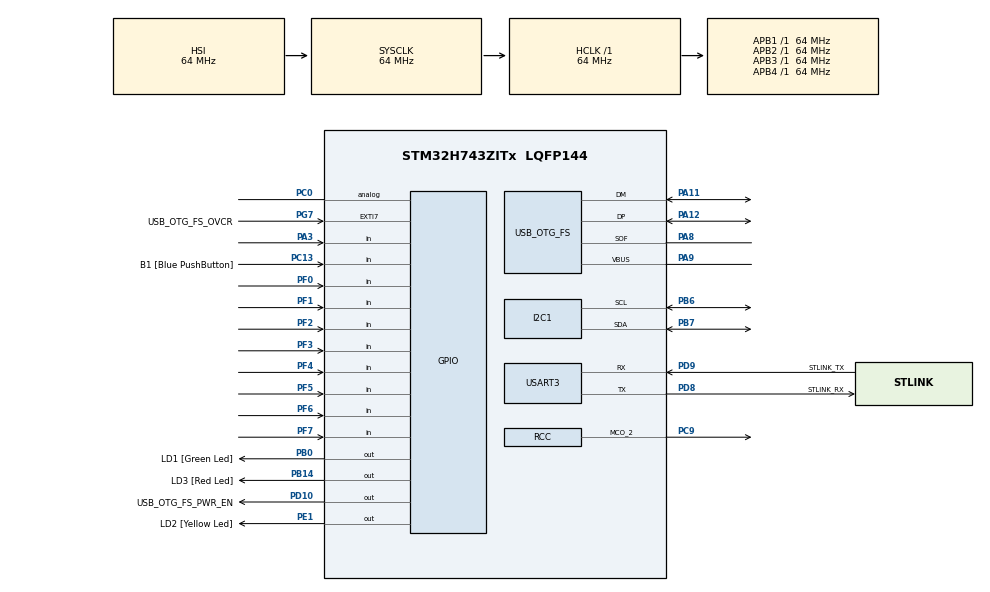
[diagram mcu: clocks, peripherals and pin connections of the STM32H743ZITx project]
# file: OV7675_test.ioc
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Mcu.Family=STM32H7
Mcu.Name=STM32H743ZITx
Mcu.Package=LQFP144
NVIC.PriorityGroup=NVIC_PRIORITYGROUP_4
PA11.Mode=Device_Only
PA11.Signal=USB_OTG_FS_DM
PA12.Mode=Device_Only
PA12.Signal=USB_OTG_FS_DP
PA3.Signal=GPIO_Input
PA8.Mode=Activate_SOF_FS
PA8.Signal=USB_OTG_FS_SOF
PA9.Mode=Activate_VBUS
PA9.Signal=USB_OTG_FS_VBUS
PB0.GPIO_Label=LD1 [Green Led]
PB0.Signal=GPIO_Output
PB14.GPIO_Label=LD3 [Red Led]
PB14.Signal=GPIO_Output
PB6.Mode=I2C
PB6.Signal=I2C1_SCL
PB7.Mode=I2C
PB7.Signal=I2C1_SDA
PC0.Signal=GPIO_Analog
PC13.GPIO_Label=B1 [Blue PushButton]
PC13.Signal=GPIO_Input
PC14-OSC32_IN\ (OSC32_IN).Mode=LSE-External-Oscillator
PC14-OSC32_IN\ (OSC32_IN).Signal=RCC_OSC32_IN
PC15-OSC32_OUT\ (OSC32_OUT).Mode=LSE-External-Oscillator
PC15-OSC32_OUT\ (OSC32_OUT).Signal=RCC_OSC32_OUT
PC9.Mode=Clock-out-2
PC9.Signal=RCC_MCO_2
PD10.GPIO_Label=USB_OTG_FS_PWR_EN
PD10.Signal=GPIO_Output
PD8.GPIO_Label=STLINK_RX
PD8.Mode=Asynchronous
PD8.Signal=USART3_TX
PD9.GPIO_Label=STLINK_TX
PD9.Mode=Asynchronous
PD9.Signal=USART3_RX
PE1.GPIO_Label=LD2 [Yellow Led]
PE1.Signal=GPIO_Output
PF0.Signal=GPIO_Input
PF1.Signal=GPIO_Input
PF2.Signal=GPIO_Input
PF3.Signal=GPIO_Input
PF4.Signal=GPIO_Input
PF5.Signal=GPIO_Input
PF6.Signal=GPIO_Input
PF7.Signal=GPIO_Input
PG7.GPIO_Label=USB_OTG_FS_OVCR
PG7.Signal=GPXTI7
PH0-OSC_IN\ (PH0).Mode=HSE-External-Oscillator
PH0-OSC_IN\ (PH0).Signal=RCC_OSC_IN
PH1-OSC_OUT\ (PH1).Mode=HSE-External-Oscillator
PH1-OSC_OUT\ (PH1).Signal=RCC_OSC_OUT
ProjectManager.HeapSize=0x200
ProjectManager.StackSize=0x400
ProjectManager.TargetToolchain=STM32CubeIDE
RCC.ADCFreq_Value=16125000
RCC.APB1Freq_Value=64000000
RCC.APB2Freq_Value=64000000
RCC.APB3Freq_Value=64000000
RCC.APB4Freq_Value=64000000
RCC.CortexFreq_Value=64000000
RCC.DIVM1=1
RCC.DIVN1=24
RCC.DIVQ1=4
RCC.HCLKFreq_Value=64000000
RCC.HSE_VALUE=8000000
RCC.PLL3_VCO_SEL-AdvancedSettings=RCC_PLL3VCOWIDE
RCC.PLLFRACN=0
RCC.PWR_Regulator_Voltage_Scale=PWR_REGULATOR_VOLTAGE_SCALE2
RCC.RCC_MCODiv2=RCC_MCODIV_4
RCC.SYSCLKFreq_VALUE=64000000
RCC.USBFreq_Value=48000000
USART3.VirtualMode-Asynchronous=VM_ASYNC
USB_OTG_FS.VirtualMode=Device_Only
board=NUCLEO-H743ZI2

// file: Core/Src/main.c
/* USER CODE BEGIN Header */
/**
  ******************************************************************************
  * @file           : main.c
  * @brief          : Main program body
  ******************************************************************************
  * @attention
  *
  * <h2><center>&copy; Copyright (c) 2022 STMicroelectronics.
  * All rights reserved.</center></h2>
  *
  * This software component is licensed by ST under BSD 3-Clause license,
  * the "License"; You may not use this file except in compliance with the
  * License. You may obtain a copy of the License at:
  *                        opensource.org/licenses/BSD-3-Clause
  *
  ******************************************************************************
  */
/* USER CODE END Header */
#include "main.h"

/* USER CODE BEGIN Includes */
#include "stdio.h"
/* USER CODE END Includes */

I2C_HandleTypeDef hi2c1;

UART_HandleTypeDef huart3;

PCD_HandleTypeDef hpcd_USB_OTG_FS;

void SystemClock_Config(void);
static void MX_GPIO_Init(void);
static void MX_USART3_UART_Init(void);
static void MX_USB_OTG_FS_PCD_Init(void);
static void MX_I2C1_Init(void);
/* USER CODE BEGIN PFP */
#ifdef __GNUC__
/* With GCC, small printf (option LD Linker->Libraries->Small printf
   set to 'Yes') calls __io_putchar() */
#define PUTCHAR_PROTOTYPE int __io_putchar(int ch)
#define GETCHAR_PROTOTYPE int __io_getchar()
#else
#define PUTCHAR_PROTOTYPE int fputc(int ch, FILE *f)
#endif /* __GNUC__ */
/* USER CODE END PFP */

int main(void)
{

  /* MCU Configuration--------------------------------------------------------*/

  /* Reset of all peripherals, Initializes the Flash interface and the Systick. */
  HAL_Init();

  /* Configure the system clock */
  SystemClock_Config();

  /* Initialize all configured peripherals */
  MX_GPIO_Init();
  MX_USART3_UART_Init();
  MX_USB_OTG_FS_PCD_Init();
  MX_I2C1_Init();
  /* USER CODE BEGIN 2 */
  my_main();
  /* USER CODE END 2 */

  /* Infinite loop */
  while (1)
  {

  }
}

void SystemClock_Config(void)
{
  RCC_OscInitTypeDef RCC_OscInitStruct = {0};
  RCC_ClkInitTypeDef RCC_ClkInitStruct = {0};

  /** Supply configuration update enable
  */
  HAL_PWREx_ConfigSupply(PWR_LDO_SUPPLY);

  /** Configure the main internal regulator output voltage
  */
  __HAL_PWR_VOLTAGESCALING_CONFIG(PWR_REGULATOR_VOLTAGE_SCALE2);

  while(!__HAL_PWR_GET_FLAG(PWR_FLAG_VOSRDY)) {}

  /** Initializes the RCC Oscillators according to the specified parameters
  * in the RCC_OscInitTypeDef structure.
  */
  RCC_OscInitStruct.OscillatorType = RCC_OSCILLATORTYPE_HSI|RCC_OSCILLATORTYPE_HSE;
  RCC_OscInitStruct.HSEState = RCC_HSE_ON;
  RCC_OscInitStruct.HSIState = RCC_HSI_DIV1;
  RCC_OscInitStruct.HSICalibrationValue = RCC_HSICALIBRATION_DEFAULT;
  RCC_OscInitStruct.PLL.PLLState = RCC_PLL_ON;
  RCC_OscInitStruct.PLL.PLLSource = RCC_PLLSOURCE_HSE;
  RCC_OscInitStruct.PLL.PLLM = 1;
  RCC_OscInitStruct.PLL.PLLN = 24;
  RCC_OscInitStruct.PLL.PLLP = 2;
  RCC_OscInitStruct.PLL.PLLQ = 4;
  RCC_OscInitStruct.PLL.PLLR = 2;
  RCC_OscInitStruct.PLL.PLLRGE = RCC_PLL1VCIRANGE_3;
  RCC_OscInitStruct.PLL.PLLVCOSEL = RCC_PLL1VCOWIDE;
  RCC_OscInitStruct.PLL.PLLFRACN = 0;
  if (HAL_RCC_OscConfig(&RCC_OscInitStruct) != HAL_OK)
  {
    Error_Handler();
  }

  /** Initializes the CPU, AHB and APB buses clocks
  */
  RCC_ClkInitStruct.ClockType = RCC_CLOCKTYPE_HCLK|RCC_CLOCKTYPE_SYSCLK
                              |RCC_CLOCKTYPE_PCLK1|RCC_CLOCKTYPE_PCLK2
                              |RCC_CLOCKTYPE_D3PCLK1|RCC_CLOCKTYPE_D1PCLK1;
  RCC_ClkInitStruct.SYSCLKSource = RCC_SYSCLKSOURCE_HSI;
  RCC_ClkInitStruct.SYSCLKDivider = RCC_SYSCLK_DIV1;
  RCC_ClkInitStruct.AHBCLKDivider = RCC_HCLK_DIV1;
  RCC_ClkInitStruct.APB3CLKDivider = RCC_APB3_DIV1;
  RCC_ClkInitStruct.APB1CLKDivider = RCC_APB1_DIV1;
  RCC_ClkInitStruct.APB2CLKDivider = RCC_APB2_DIV1;
  RCC_ClkInitStruct.APB4CLKDivider = RCC_APB4_DIV1;

  if (HAL_RCC_ClockConfig(&RCC_ClkInitStruct, FLASH_LATENCY_1) != HAL_OK)
  {
    Error_Handler();
  }
  HAL_RCC_MCOConfig(RCC_MCO2, RCC_MCO2SOURCE_SYSCLK, RCC_MCODIV_4);
}

static void MX_I2C1_Init(void)
{

  hi2c1.Instance = I2C1;
  hi2c1.Init.Timing = 0x10707DBC;
  hi2c1.Init.OwnAddress1 = 0;
  hi2c1.Init.AddressingMode = I2C_ADDRESSINGMODE_7BIT;
  hi2c1.Init.DualAddressMode = I2C_DUALADDRESS_DISABLE;
  hi2c1.Init.OwnAddress2 = 0;
  hi2c1.Init.OwnAddress2Masks = I2C_OA2_NOMASK;
  hi2c1.Init.GeneralCallMode = I2C_GENERALCALL_DISABLE;
  hi2c1.Init.NoStretchMode = I2C_NOSTRETCH_DISABLE;
  if (HAL_I2C_Init(&hi2c1) != HAL_OK)
  {
    Error_Handler();
  }

  /** Configure Analogue filter
  */
  if (HAL_I2CEx_ConfigAnalogFilter(&hi2c1, I2C_ANALOGFILTER_ENABLE) != HAL_OK)
  {
    Error_Handler();
  }

  /** Configure Digital filter
  */
  if (HAL_I2CEx_ConfigDigitalFilter(&hi2c1, 0) != HAL_OK)
  {
    Error_Handler();
  }

}

static void MX_USART3_UART_Init(void)
{

  huart3.Instance = USART3;
  huart3.Init.BaudRate = 115200;
  huart3.Init.WordLength = UART_WORDLENGTH_8B;
  huart3.Init.StopBits = UART_STOPBITS_1;
  huart3.Init.Parity = UART_PARITY_NONE;
  huart3.Init.Mode = UART_MODE_TX_RX;
  huart3.Init.HwFlowCtl = UART_HWCONTROL_NONE;
  huart3.Init.OverSampling = UART_OVERSAMPLING_16;
  huart3.Init.OneBitSampling = UART_ONE_BIT_SAMPLE_DISABLE;
  huart3.Init.ClockPrescaler = UART_PRESCALER_DIV1;
  huart3.AdvancedInit.AdvFeatureInit = UART_ADVFEATURE_NO_INIT;
  if (HAL_UART_Init(&huart3) != HAL_OK)
  {
    Error_Handler();
  }
  if (HAL_UARTEx_SetTxFifoThreshold(&huart3, UART_TXFIFO_THRESHOLD_1_8) != HAL_OK)
  {
    Error_Handler();
  }
  if (HAL_UARTEx_SetRxFifoThreshold(&huart3, UART_RXFIFO_THRESHOLD_1_8) != HAL_OK)
  {
    Error_Handler();
  }
  if (HAL_UARTEx_DisableFifoMode(&huart3) != HAL_OK)
  {
    Error_Handler();
  }

}

static void MX_USB_OTG_FS_PCD_Init(void)
{

  hpcd_USB_OTG_FS.Instance = USB_OTG_FS;
  hpcd_USB_OTG_FS.Init.dev_endpoints = 9;
  hpcd_USB_OTG_FS.Init.speed = PCD_SPEED_FULL;
  hpcd_USB_OTG_FS.Init.dma_enable = DISABLE;
  hpcd_USB_OTG_FS.Init.phy_itface = PCD_PHY_EMBEDDED;
  hpcd_USB_OTG_FS.Init.Sof_enable = ENABLE;
  hpcd_USB_OTG_FS.Init.low_power_enable = DISABLE;
  hpcd_USB_OTG_FS.Init.lpm_enable = DISABLE;
  hpcd_USB_OTG_FS.Init.battery_charging_enable = ENABLE;
  hpcd_USB_OTG_FS.Init.vbus_sensing_enable = ENABLE;
  hpcd_USB_OTG_FS.Init.use_dedicated_ep1 = DISABLE;
  if (HAL_PCD_Init(&hpcd_USB_OTG_FS) != HAL_OK)
  {
    Error_Handler();
  }

}

static void MX_GPIO_Init(void)
{
  GPIO_InitTypeDef GPIO_InitStruct = {0};

  /* GPIO Ports Clock Enable */
  __HAL_RCC_GPIOC_CLK_ENABLE();
  __HAL_RCC_GPIOF_CLK_ENABLE();
  __HAL_RCC_GPIOH_CLK_ENABLE();
  __HAL_RCC_GPIOA_CLK_ENABLE();
  __HAL_RCC_GPIOB_CLK_ENABLE();
  __HAL_RCC_GPIOD_CLK_ENABLE();
  __HAL_RCC_GPIOG_CLK_ENABLE();
  __HAL_RCC_GPIOE_CLK_ENABLE();

  /*Configure GPIO pin Output Level */
  HAL_GPIO_WritePin(GPIOB, LD1_Pin|LD3_Pin, GPIO_PIN_RESET);

  /*Configure GPIO pin Output Level */
  HAL_GPIO_WritePin(USB_OTG_FS_PWR_EN_GPIO_Port, USB_OTG_FS_PWR_EN_Pin, GPIO_PIN_RESET);

  /*Configure GPIO pin Output Level */
  HAL_GPIO_WritePin(LD2_GPIO_Port, LD2_Pin, GPIO_PIN_RESET);

  /*Configure GPIO pin : B1_Pin */
  GPIO_InitStruct.Pin = B1_Pin;
  GPIO_InitStruct.Mode = GPIO_MODE_INPUT;
  GPIO_InitStruct.Pull = GPIO_NOPULL;
  HAL_GPIO_Init(B1_GPIO_Port, &GPIO_InitStruct);

  /*Configure GPIO pins : PF0 PF1 PF2 PF3
                           PF4 PF5 PF6 PF7 */
  GPIO_InitStruct.Pin = GPIO_PIN_0|GPIO_PIN_1|GPIO_PIN_2|GPIO_PIN_3
                          |GPIO_PIN_4|GPIO_PIN_5|GPIO_PIN_6|GPIO_PIN_7;
  GPIO_InitStruct.Mode = GPIO_MODE_INPUT;
  GPIO_InitStruct.Pull = GPIO_NOPULL;
  HAL_GPIO_Init(GPIOF, &GPIO_InitStruct);

  /*Configure GPIO pin : PC0 */
  GPIO_InitStruct.Pin = GPIO_PIN_0;
  GPIO_InitStruct.Mode = GPIO_MODE_ANALOG;
  GPIO_InitStruct.Pull = GPIO_NOPULL;
  HAL_GPIO_Init(GPIOC, &GPIO_InitStruct);

  /*Configure GPIO pin : PA3 */
  GPIO_InitStruct.Pin = GPIO_PIN_3;
  GPIO_InitStruct.Mode = GPIO_MODE_INPUT;
  GPIO_InitStruct.Pull = GPIO_NOPULL;
  HAL_GPIO_Init(GPIOA, &GPIO_InitStruct);

  /*Configure GPIO pins : LD1_Pin LD3_Pin */
  GPIO_InitStruct.Pin = LD1_Pin|LD3_Pin;
  GPIO_InitStruct.Mode = GPIO_MODE_OUTPUT_PP;
  GPIO_InitStruct.Pull = GPIO_NOPULL;
  GPIO_InitStruct.Speed = GPIO_SPEED_FREQ_LOW;
  HAL_GPIO_Init(GPIOB, &GPIO_InitStruct);

  /*Configure GPIO pin : USB_OTG_FS_PWR_EN_Pin */
  GPIO_InitStruct.Pin = USB_OTG_FS_PWR_EN_Pin;
  GPIO_InitStruct.Mode = GPIO_MODE_OUTPUT_PP;
  GPIO_InitStruct.Pull = GPIO_NOPULL;
  GPIO_InitStruct.Speed = GPIO_SPEED_FREQ_LOW;
  HAL_GPIO_Init(USB_OTG_FS_PWR_EN_GPIO_Port, &GPIO_InitStruct);

  /*Configure GPIO pin : USB_OTG_FS_OVCR_Pin */
  GPIO_InitStruct.Pin = USB_OTG_FS_OVCR_Pin;
  GPIO_InitStruct.Mode = GPIO_MODE_IT_RISING;
  GPIO_InitStruct.Pull = GPIO_NOPULL;
  HAL_GPIO_Init(USB_OTG_FS_OVCR_GPIO_Port, &GPIO_InitStruct);

  /*Configure GPIO pin : PC9 */
  GPIO_InitStruct.Pin = GPIO_PIN_9;
  GPIO_InitStruct.Mode = GPIO_MODE_AF_PP;
  GPIO_InitStruct.Pull = GPIO_NOPULL;
  GPIO_InitStruct.Speed = GPIO_SPEED_FREQ_LOW;
  GPIO_InitStruct.Alternate = GPIO_AF0_MCO;
  HAL_GPIO_Init(GPIOC, &GPIO_InitStruct);

  /*Configure GPIO pin : LD2_Pin */
  GPIO_InitStruct.Pin = LD2_Pin;
  GPIO_InitStruct.Mode = GPIO_MODE_OUTPUT_PP;
  GPIO_InitStruct.Pull = GPIO_NOPULL;
  GPIO_InitStruct.Speed = GPIO_SPEED_FREQ_LOW;
  HAL_GPIO_Init(LD2_GPIO_Port, &GPIO_InitStruct);

}

/* USER CODE BEGIN 4 */
/**
  * @brief  Retargets the C library printf and scanf functions to UART.
  * @param  None
  * @retval None
  */
PUTCHAR_PROTOTYPE
{
  /* Place your implementation of fputc here */
  /* e.g. write a character to the USART3 and Loop until the end of transmission */
  HAL_UART_Transmit(&huart3, (uint8_t *)&ch, 1, HAL_MAX_DELAY);

  return 1;
}

GETCHAR_PROTOTYPE
{
	uint8_t ch;

	HAL_UART_Receive(&huart3, &ch, 1, HAL_MAX_DELAY);

	return 1;
}
/* USER CODE END 4 */

void Error_Handler(void)
{
  __disable_irq();
  while (1)
  {
  }
}
